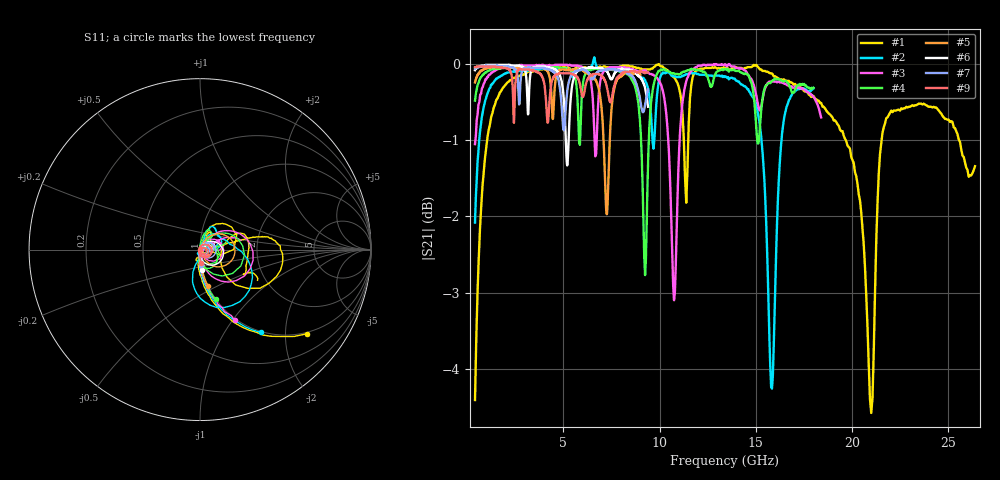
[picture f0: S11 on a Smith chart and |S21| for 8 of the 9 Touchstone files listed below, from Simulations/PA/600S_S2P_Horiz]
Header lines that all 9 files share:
!  One Norden Lane
!  Huntington Station,  NY.  11746-2102
!  Tel:  (631) 622-4700  Fax:  (631) 622-4748
!  Description: Ultra Low ESR Microwave capacitors
!  Application: Coupling, Bypass, Tuning, DC Block
!  Filters, Matching
# GHZ S DB R 50
! Freq  |S11|  S11 Ph  |S21|  S21 Ph  |S12|  S12 Ph  |S22|  S22 Ph
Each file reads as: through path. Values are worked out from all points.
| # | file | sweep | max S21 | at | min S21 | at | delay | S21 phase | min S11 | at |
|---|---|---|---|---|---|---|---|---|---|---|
| 1 | 600S3R0.S2P | 400 MHz to 26.4 GHz | 0.00 dB | 9.955 GHz | -4.6 dB | 21 GHz | 13.3 ps | -50 deg at 13.4 GHz | -51.2 dB | 7.68 GHz |
| 2 | 600S5R1.S2P | 400 MHz to 18 GHz | 0.09 dB | 6.604 GHz | -4.3 dB | 15.84 GHz | 12.2 ps | -34 deg at 9.2 GHz | -49.6 dB | 6.868 GHz |
| 3 | 600S7R5.S2P | 400 MHz to 18.4 GHz | 0.00 dB | 12.82 GHz | -3.1 dB | 10.75 GHz | 11.3 ps | -35 deg at 9.4 GHz | -52.9 dB | 4.945 GHz |
| 4 | 600S120.S2P | 400 MHz to 18 GHz | -0.04 dB | 2.424 GHz | -2.8 dB | 9.244 GHz | 11.3 ps | -38 deg at 9.2 GHz | -49.2 dB | 9.728 GHz |
| 5 | 600S180.S2P | 400 MHz to 9 GHz | -0.04 dB | 1.217 GHz | -2.0 dB | 7.248 GHz | 11.7 ps | -16 deg at 4.7 GHz | -49.5 dB | 3.432 GHz |
| 6 | 600S330.S2P | 400 MHz to 9.4 GHz | -0.01 dB | 1.525 GHz | -1.3 dB | 5.193 GHz | 10.7 ps | -20 deg at 4.9 GHz | -77.5 dB | 2.358 GHz |
| 7 | 600S430.S2P | 400 MHz to 9.4 GHz | -0.02 dB | 940 MHz | -0.9 dB | 5.013 GHz | 10.4 ps | -20 deg at 4.9 GHz | -74.7 dB | 2.11 GHz |
| 8 | 600S470.S2P | 400 MHz to 9.4 GHz | -0.02 dB | 1.075 GHz | -1.1 dB | 4.45 GHz | 10.2 ps | -16 deg at 4.9 GHz | -71.7 dB | 1.908 GHz |
| 9 | 600S510.S2P | 400 MHz to 9.4 GHz | -0.03 dB | 1.03 GHz | -0.8 dB | 4.191 GHz | 9.97 ps | -17 deg at 4.9 GHz | -51.8 dB | 5.136 GHz |
